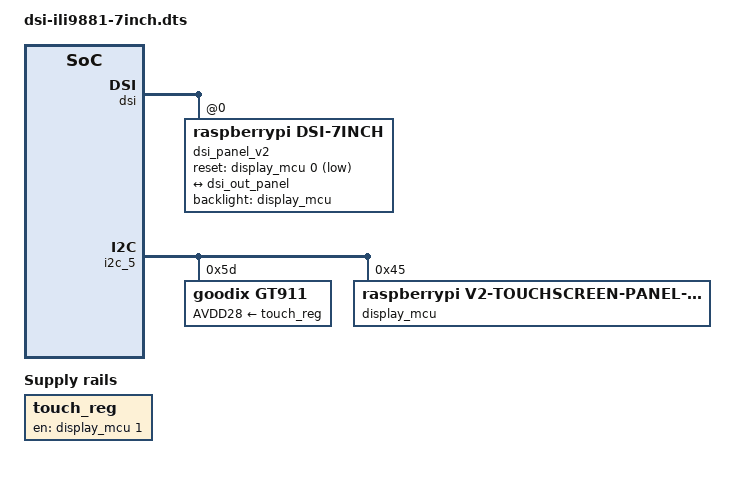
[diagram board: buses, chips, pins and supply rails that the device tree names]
// SPDX-License-Identifier: (GPL-2.0-or-later OR BSD-2-Clause)
/*
 * Raspberry Pi Touch Display 2 (7" 720x1280 ILI9881, portrait)
 * Overlay for the panel-neutral base (rtd1619b-backinblack-2gb.dts):
 *   - add the dsi_out_panel endpoint pointing at the ILI9881 panel
 *   - add ILI9881 panel on the DSI bus, GT911 touch @0x5d and the v2 display
 *     MCU (regulator/gpio/backlight) @0x45
 */
/dts-v1/;
/plugin/;

#include <dt-bindings/gpio/gpio.h>

&dsi {
	display-timings {
		native-mode = <&timing0>;
		timing0: timing0 {
			clock-frequency = <74204640>;
			hactive = <720>;
			vactive = <1280>;
			hfront-porch = <239>;
			hback-porch = <50>;
			vfront-porch = <20>;
			vback-porch = <30>;
			hsync-len = <33>;
			vsync-len = <2>;
		};
	};

	dsi_panel_v2: dsi_panel@0 {
		compatible = "raspberrypi,dsi-7inch";
		reg = <0>;
		reset-gpio = <&display_mcu 0 GPIO_ACTIVE_LOW>;
		backlight = <&display_mcu>;
		fps = <60>;
		rotation = <0>;
		port {
			panel_in_dsi_v2: endpoint {
				remote-endpoint = <&dsi_out_panel>;
			};
		};
	};
};

/* base's dsi_out port has no panel endpoint (panel-neutral base) */
&dsi_out {
	dsi_out_panel: endpoint {
		remote-endpoint = <&panel_in_dsi_v2>;
	};
};

&i2c_5 {
	gt911: gt911@5d {
		compatible = "goodix,gt911";
		reg = <0x5d>;
		AVDD28-supply = <&touch_reg>;
		touchscreen-size-x = <720>;
		touchscreen-size-y = <1280>;
		touchscreen-x-mm = <90>;
		touchscreen-y-mm = <151>;
	};

	display_mcu: display_mcu@45 {
		compatible = "raspberrypi,v2-touchscreen-panel-regulator";
		reg = <0x45>;
		gpio-controller;
		#gpio-cells = <2>;
	};
};

/*
 * touch_reg must NOT be a child of &i2c_5: the i2c core only ever
 * instantiates its children as i2c_client (i2c_bus_type), but the
 * regulator-fixed driver (reg-fixed-voltage) is a platform_driver, so
 * it can never bind there and gt911's AVDD28-supply stays deferred
 * forever. Put it at the root instead, like hdmi_supp_alt/wlan_supp_alt
 * in the phantom overlays, where the same driver is confirmed to bind.
 */
&{/} {
	touch_reg: touch_reg {
		compatible = "regulator-fixed";
		regulator-name = "touch_reg_1";
		gpio = <&display_mcu 1 GPIO_ACTIVE_HIGH>;
		startup-delay-us = <50000>;
		enable-active-high;
	};
};
